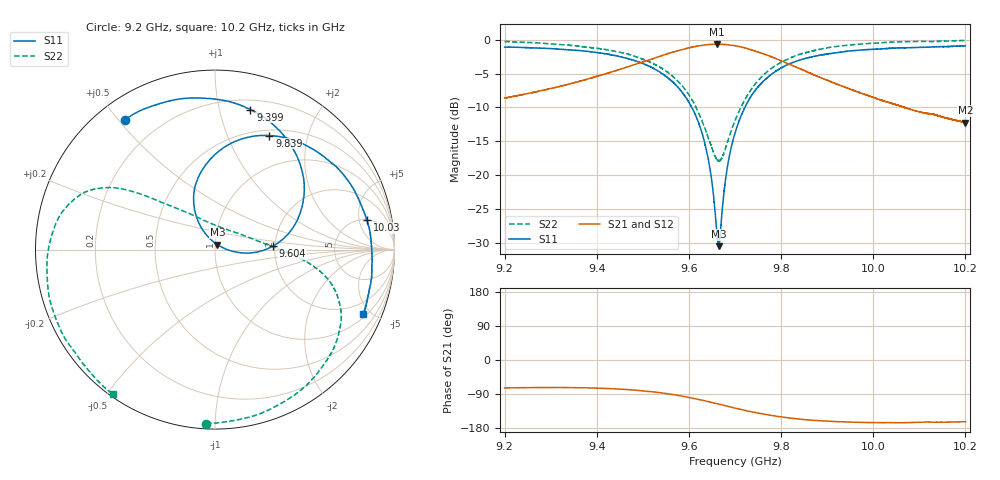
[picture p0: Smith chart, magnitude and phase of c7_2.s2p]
!Agilent Technologies,N5242A,MY51221714,A.09.90.19
!Agilent N5242A: A.09.90.19
!Date: Saturday, December 30, 2023 10:32:07
!Correction: S11(Full 2 Port(1,2))
!S21(Full 2 Port(1,2))
!S12(Full 2 Port(1,2))
!S22(Full 2 Port(1,2))
!S2P File: Measurements: S11, S21, S12, S22:
# Hz S  dB  R 50
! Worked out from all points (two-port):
!   16001 points, 9.2 GHz to 10.2 GHz, reference 50 ohm
!   highest |S21| = -0.66 dB at 9.661 GHz (marker M1); lowest = -12.2 dB at 10.2 GHz (marker M2)
!   |S21| within 3 dB of the highest: 9.482 GHz to 9.819 GHz (336.7 MHz wide, 3.49 % of centre); 9.819066 GHz to 9.819204 GHz (138 kHz wide, 0.00141 % of centre)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
!   lowest |S11| = -30.4 dB at 9.665 GHz (marker M3), VSWR 1.06, Z = 51.3 + j2.75 ohm
!   |S11| at or under -10 dB: 9.606 GHz to 9.721 GHz (115.2 MHz wide, 1.19 % of centre)
!   |S22| runs from -17.9 to -0.1 dB; largest |S21 - S12| = 0.014
!   S11 on the Smith chart (normalised r, x): 9.2 GHz: 0.08, +0.52; 9.399 GHz: 0.28, +1.24; 9.604 GHz: 1.96, +0.09; 9.839 GHz: 0.57, +1.43; 10.03 GHz: 5.05, +6.49; 10.2 GHz: 1.20, -4.53
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9.2e9  -1.10 124.9  -8.61 -73.7  -8.59 -74.5  -0.26 -92.9
9.275188e9  -1.25 107.4  -7.59 -72.8  -7.57 -73.3  -0.50 -72.6
9.366688e9  -1.64 84.6  -6.07 -73.2  -6.05 -73.9  -1.02 -49.0
9.398562e9  -1.89 75.8  -5.43 -74.1  -5.43 -74.9  -1.27 -41.1
9.46675e9  -2.77 55.5  -4.01 -78.0  -4.01 -78.8  -2.15 -26.2
9.533375e9  -4.64 32.2  -2.54 -85.6  -2.52 -86.3  -3.92 -13.9
9.604312e9  -9.76 3.7  -1.15 -99.7  -1.13 -100.4  -8.58 -0.6
9.639312e9  -16.69 -7.3  -0.75 -109.1  -0.74 -109.8  -13.97 19.6
9.650125e9  -21.05 -4.1  -0.69 -112.1  -0.68 -112.9  -16.01 34.6
9.660938e9  -28.74 25.7  -0.66 -115.3  -0.66 -116.0  -17.65 58.1
9.66475e9  -30.45 63.2  -0.67 -116.4  -0.67 -117.1  -17.85 68.7
9.682688e9  -19.04 121.8  -0.74 -121.7  -0.73 -122.5  -15.31 109.7
9.7e9  -13.81 119.6  -0.90 -126.8  -0.87 -127.6  -11.95 126.2
9.750625e9  -6.90 98.9  -1.82 -140.2  -1.81 -141.0  -6.00 142.7
9.838625e9  -3.05 64.5  -4.22 -155.7  -4.21 -156.5  -2.21 154.8
9.866688e9  -2.53 55.2  -5.04 -158.9  -5.04 -159.6  -1.68 159.3
9.949938e9  -1.66 31.4  -7.29 -164.0  -7.29 -164.6  -0.79 175.2
1.003338e10  -1.29 11.1  -9.27 -165.3  -9.26 -166.0  -0.38 -166.3
1.003381e10  -1.29 11.0  -9.27 -165.3  -9.26 -166.0  -0.38 -166.2
1.010694e10  -1.13 -4.6  -10.75 -164.1  -10.74 -164.8  -0.25 -148.8
1.019994e10  -0.91 -23.4  -12.22 -163.0  -12.21 -163.8  -0.13 -125.2
1.02e10  -0.91 -23.4  -12.20 -163.0  -12.21 -163.9  -0.13 -125.2
